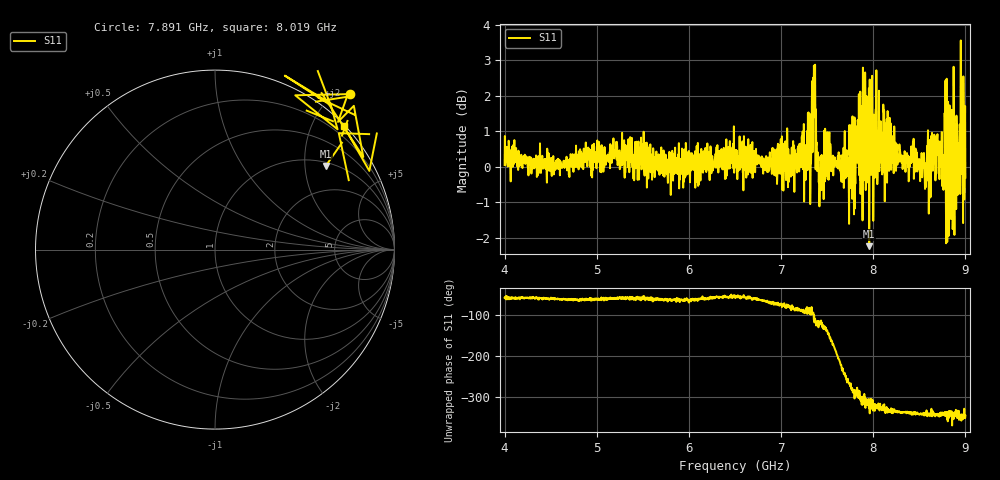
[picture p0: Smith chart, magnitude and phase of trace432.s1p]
! Created with skrf 1.8.0 (http://scikit-rf.org).
# Hz S RI R 50.0
!freq ReS11 ImS11
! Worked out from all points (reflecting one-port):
!   1601 points, 4 GHz to 9 GHz, reference 50 ohm
!   lowest |S11| = -2.2 dB at 7.956 GHz (marker M1), VSWR 7.82, Z = 55.3 + j128 ohm
!   phase of S11 starts at -58 deg and turns -287 deg over the sweep
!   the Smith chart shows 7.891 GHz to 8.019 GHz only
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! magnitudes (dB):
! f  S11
! 4 GHz  0.1
! 4.625 GHz  0.0
! 5.25 GHz  -0.1
! 5.875 GHz  0.3
! 6.5 GHz  0.4
! 7.125 GHz  0.0
! 7.303 GHz  0.2
! 7.359 GHz  2.6
! 7.381 GHz  0.6
! 7.4 GHz  0.4
! 7.438 GHz  -0.7
! 7.509 GHz  0.3
! 7.75 GHz  -0.6
! 7.784 GHz  0.0
! 7.834 GHz  1.3
! 7.881 GHz  0.4
! 7.928 GHz  2.0
! 7.956 GHz  -2.2
! 8.134 GHz  0.1
! 8.375 GHz  0.2
! 8.553 GHz  0.2
! 8.719 GHz  -0.3
! 8.766 GHz  0.2
! 8.834 GHz  1.4
! 8.844 GHz  -1.5
! 8.875 GHz  0.9
! 8.956 GHz  -0.1
! 9 GHz  -0.3
